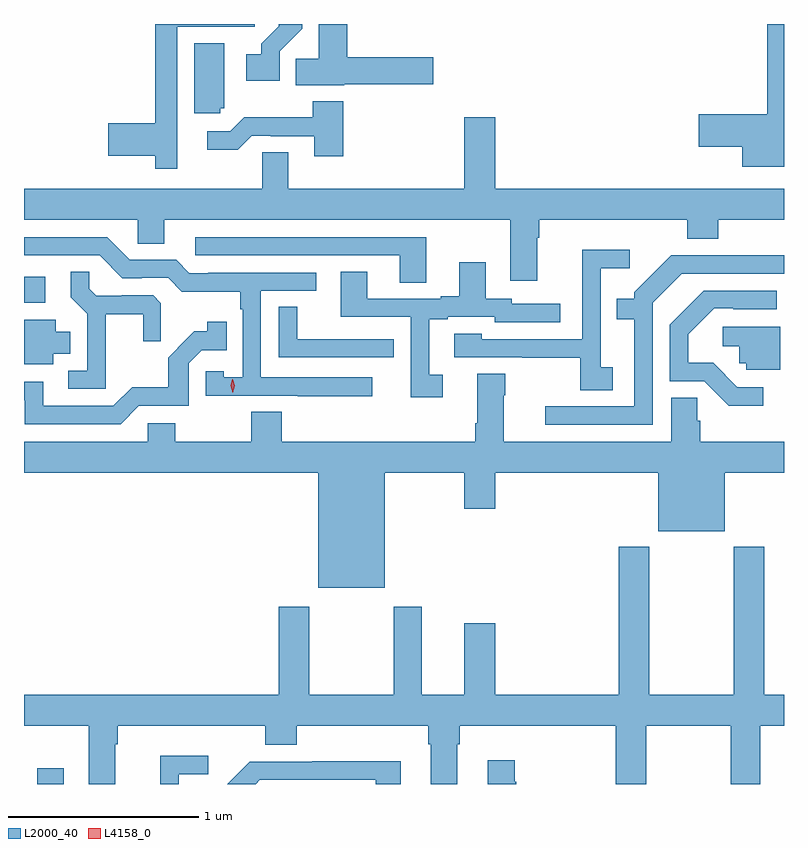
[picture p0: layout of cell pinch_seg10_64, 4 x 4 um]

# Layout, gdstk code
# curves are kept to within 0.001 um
import gdstk
lib = gdstk.Library(unit=1e-6, precision=1e-09)
def R(c, l, rs):  # rectangles x0, y0, x1, y1
    for r in rs: c.add(gdstk.rectangle(r[:2], r[2:], *l))
def P(c, l, *ps):  # polygons
    for p in ps: c.add(gdstk.Polygon(p, *l))
L2000_40 = (2000, 40)
L4158_0 = (4158, 0)

pinch_seg10_64 = lib.new_cell('pinch_seg10_64')
R(pinch_seg10_64, L2000_40, [(834.089,1318.658,834.229,1318.741), (834.019,1321.191,834.13,1321.327)])
P(pinch_seg10_64, L2000_40, [(835.704,1322.342),(836.173,1322.342),(836.173,1322.484),(835.721,1322.484),(835.721,1322.658),(835.571,1322.658),(835.571,1322.474),(835.45,1322.474),(835.45,1322.336),(835.704,1322.336)],
  [(838.019,1322.658),(837.93,1322.658),(837.93,1322.183),(837.57,1322.183),(837.57,1322.012),(837.8,1322.012),(837.8,1321.907),(838.019,1321.907)],
  [(834.826,1322.118),(834.825,1322.118),(834.825,1322.643),(835.234,1322.643),(835.234,1322.658),(834.709,1322.658),(834.709,1322.135),(834.462,1322.135),(834.462,1321.964),(834.709,1321.964),(834.709,1321.896),(834.826,1321.896)],
  [(835.365,1322.515),(835.484,1322.634),(835.484,1322.658),(835.359,1322.658),(835.359,1322.645),(835.268,1322.555),(835.268,1322.5),(835.188,1322.5),(835.188,1322.36),(835.365,1322.36)],
  [(835.053,1322.214),(835.072,1322.214),(835.072,1322.558),(834.914,1322.558),(834.914,1322.187),(835.053,1322.187)],
  [(835.7,1322.251),(835.54,1322.251),(835.54,1322.167),(835.177,1322.167),(835.104,1322.094),(834.984,1322.094),(834.984,1321.997),(835.145,1321.997),(835.218,1322.07),(835.318,1322.07),(835.318,1322.067),(835.547,1322.067),(835.547,1321.962),(835.7,1321.962)],
  [(836.719,1321.532),(836.732,1321.532),(836.732,1321.628),(837.509,1321.628),(837.509,1321.529),(837.674,1321.529),(837.674,1321.628),(838.019,1321.628),(838.019,1321.792),(836.5,1321.792),(836.5,1322.167),(836.336,1322.167),(836.336,1321.792),(835.411,1321.792),(835.411,1321.982),(835.272,1321.982),(835.272,1321.792),(834.019,1321.792),(834.019,1321.628),(834.618,1321.628),(834.618,1321.501),(834.757,1321.501),(834.757,1321.628),(836.579,1321.628),(836.579,1321.308),(836.719,1321.308)],
  [(835.852,1320.798),(835.266,1320.798),(835.266,1321.254),(835.558,1321.254),(835.558,1321.35),(834.988,1321.35),(834.988,1321.347),(834.888,1321.347),(834.819,1321.416),(834.576,1321.416),(834.456,1321.536),(834.019,1321.536),(834.019,1321.44),(834.417,1321.44),(834.537,1321.32),(834.638,1321.32),(834.638,1321.323),(834.777,1321.323),(834.85,1321.25),(835.158,1321.25),(835.158,1321.157),(835.17,1321.157),(835.17,1320.799),(835.071,1320.799),(835.071,1320.831),(834.975,1320.831),(834.975,1320.702),(835.459,1320.702),(835.459,1320.7),(835.852,1320.7)],
  [(836.137,1321.536),(834.921,1321.536),(834.921,1321.44),(835.997,1321.44),(835.997,1321.297),(836.137,1321.297)],
  [(837.118,1320.852),(837.054,1320.852),(837.054,1321.373),(837.208,1321.373),(837.208,1321.471),(836.956,1321.471),(836.956,1321.232),(836.958,1321.232),(836.958,1320.999),(836.427,1320.999),(836.427,1321.027),(836.283,1321.027),(836.283,1320.903),(836.641,1320.903),(836.641,1320.901),(836.946,1320.901),(836.946,1320.73),(837.118,1320.73)],
  [(837.327,1321.191),(837.48,1321.344),(838.019,1321.344),(838.019,1321.442),(837.757,1321.442),(837.757,1321.44),(837.426,1321.44),(837.231,1321.245),(837.231,1321.213),(837.139,1321.213),(837.139,1321.104),(837.23,1321.104),(837.23,1320.645),(836.763,1320.645),(836.763,1320.549),(837.327,1320.549)],
  [(836.224,1320.813),(836.152,1320.813),(836.152,1321.104),(836.248,1321.104),(836.248,1321.116),(836.496,1321.116),(836.496,1321.089),(836.842,1321.089),(836.842,1321.185),(836.586,1321.185),(836.586,1321.212),(836.449,1321.212),(836.449,1321.405),(836.309,1321.405),(836.309,1321.225),(836.213,1321.225),(836.213,1321.212),(835.825,1321.212),(835.825,1321.355),(835.685,1321.355),(835.685,1321.116),(836.055,1321.116),(836.055,1320.693),(836.224,1320.693)],
  [(834.449,1321.13),(834.646,1321.13),(834.646,1320.987),(834.74,1320.987),(834.74,1321.189),(834.699,1321.23),(834.534,1321.23),(834.534,1321.227),(834.4,1321.227),(834.363,1321.264),(834.363,1321.355),(834.265,1321.355),(834.265,1321.219),(834.351,1321.133),(834.351,1320.834),(834.252,1320.834),(834.252,1320.738),(834.449,1320.738)],
  [(837.91,1320.747),(837.774,1320.747),(837.647,1320.874),(837.514,1320.874),(837.514,1321.024),(837.651,1321.161),(837.751,1321.161),(837.751,1321.158),(837.982,1321.158),(837.982,1321.254),(837.596,1321.254),(837.417,1321.075),(837.417,1320.777),(837.6,1320.777),(837.728,1320.65),(837.91,1320.65)],
  [(835.966,1320.998),(835.853,1320.998),(835.853,1320.999),(835.458,1320.999),(835.458,1321.169),(835.359,1321.169),(835.359,1320.903),(835.966,1320.903)],
  [(834.172,1320.923),(834.262,1320.923),(834.262,1321.039),(834.187,1321.039),(834.187,1321.102),(834.019,1321.102),(834.019,1320.866),(834.172,1320.866)],
  [(834.624,1320.648),(834.885,1320.648),(834.885,1320.873),(834.954,1320.942),(835.085,1320.942),(835.085,1321.09),(834.984,1321.09),(834.984,1321.04),(834.914,1321.04),(834.777,1320.902),(834.777,1320.747),(834.588,1320.747),(834.489,1320.648),(834.121,1320.648),(834.121,1320.774),(834.019,1320.774),(834.019,1320.678),(834.023,1320.678),(834.023,1320.552),(834.528,1320.552)],
  [(838,1321.065),(837.696,1321.065),(837.696,1320.962),(837.783,1320.962),(837.783,1320.873),(837.819,1320.873),(837.819,1320.837),(838,1320.837)],
  [(835.918,1320.296),(836.336,1320.296),(836.336,1320.108),(836.5,1320.108),(836.5,1320.296),(837.356,1320.296),(837.356,1319.987),(837.706,1319.987),(837.706,1320.296),(838.019,1320.296),(838.019,1320.46),(837.578,1320.46),(837.578,1320.57),(837.563,1320.57),(837.563,1320.692),(837.425,1320.692),(837.425,1320.46),(836.545,1320.46),(836.545,1320.704),(836.553,1320.704),(836.553,1320.817),(836.405,1320.817),(836.405,1320.556),(836.393,1320.556),(836.393,1320.46),(835.376,1320.46),(835.376,1320.617),(835.216,1320.617),(835.216,1320.46),(834.816,1320.46),(834.816,1320.558),(834.669,1320.558),(834.669,1320.46),(834.019,1320.46),(834.019,1320.296),(835.568,1320.296),(835.568,1319.69),(835.918,1319.69)],
  [(834.499,1318.868),(834.512,1318.868),(834.512,1318.964),(835.289,1318.964),(835.289,1318.865),(835.454,1318.865),(835.454,1318.964),(836.147,1318.964),(836.147,1318.868),(836.159,1318.868),(836.159,1318.658),(836.299,1318.658),(836.299,1318.868),(836.312,1318.868),(836.312,1318.964),(837.134,1318.964),(837.134,1318.658),(837.294,1318.658),(837.294,1318.964),(837.739,1318.964),(837.739,1318.658),(837.894,1318.658),(837.894,1318.964),(838.019,1318.964),(838.019,1319.128),(837.914,1319.128),(837.914,1319.908),(837.754,1319.908),(837.754,1319.128),(837.309,1319.128),(837.309,1319.908),(837.149,1319.908),(837.149,1319.128),(836.5,1319.128),(836.5,1319.503),(836.336,1319.503),(836.336,1319.128),(836.113,1319.128),(836.113,1319.59),(835.966,1319.59),(835.966,1319.128),(835.521,1319.128),(835.521,1319.59),(835.361,1319.59),(835.361,1319.128),(834.019,1319.128),(834.019,1318.964),(834.359,1318.964),(834.359,1318.658),(834.499,1318.658)],
  [(834.834,1318.709),(834.988,1318.709),(834.988,1318.807),(834.736,1318.807),(834.736,1318.658),(834.834,1318.658)],
  [(836.609,1318.67),(836.602,1318.67),(836.602,1318.783),(836.459,1318.783),(836.459,1318.658),(836.609,1318.658)],
  [(835.26,1318.68),(835.869,1318.68),(835.869,1318.658),(836.002,1318.658),(836.002,1318.778),(835.537,1318.778),(835.537,1318.776),(835.206,1318.776),(835.088,1318.658),(835.238,1318.658)])
P(pinch_seg10_64, L4158_0, [(835.118,1320.717),(835.118,1320.717),(835.107,1320.753),(835.116,1320.789),(835.117,1320.789),(835.117,1320.789),(835.127,1320.753),(835.118,1320.717)])

lib.write_gds('pinch_seg10_64.gds')
